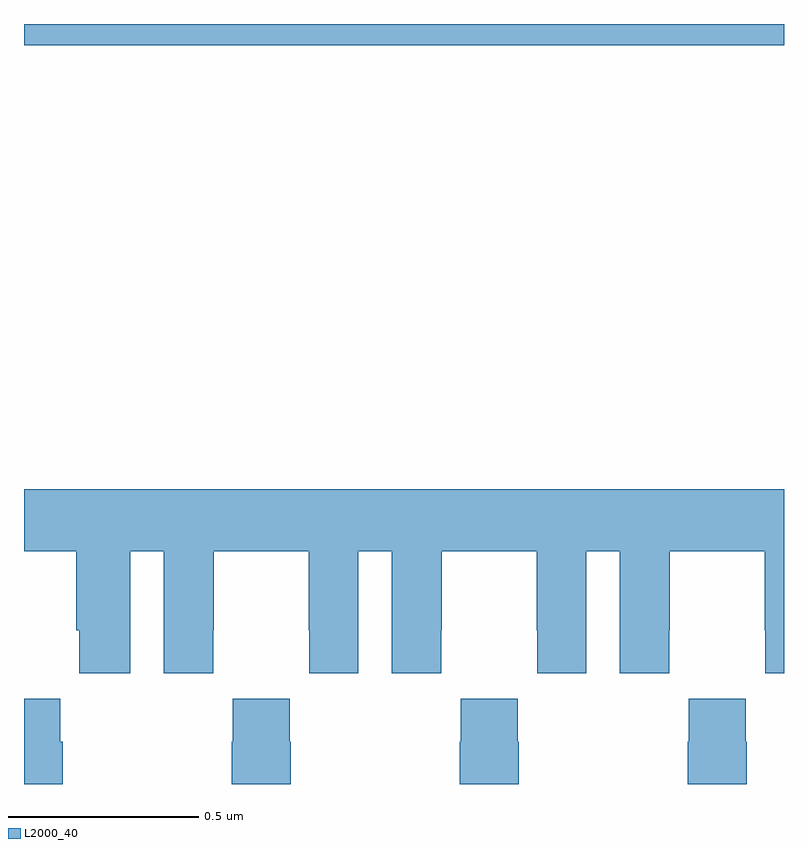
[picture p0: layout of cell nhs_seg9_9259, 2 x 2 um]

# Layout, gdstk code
import gdstk
lib = gdstk.Library(unit=1e-6, precision=1e-09)
def R(c, l, rs):  # rectangles x0, y0, x1, y1
    for r in rs: c.add(gdstk.rectangle(r[:2], r[2:], *l))
def P(c, l, *ps):  # polygons
    for p in ps: c.add(gdstk.Polygon(p, *l))
L2000_40 = (2000, 40)

nhs_seg9_9259 = lib.new_cell('nhs_seg9_9259')
R(nhs_seg9_9259, L2000_40, [(228,1172.444,230,1172.5)])
P(nhs_seg9_9259, L2000_40, [(228.28,1171.112),(228.368,1171.112),(228.368,1170.792),(228.498,1170.792),(228.498,1170.904),(228.499,1170.904),(228.499,1171.112),(228.749,1171.112),(228.749,1170.904),(228.75,1170.904),(228.75,1170.792),(228.88,1170.792),(228.88,1171.112),(228.968,1171.112),(228.968,1170.792),(229.098,1170.792),(229.098,1170.904),(229.099,1170.904),(229.099,1171.112),(229.349,1171.112),(229.349,1170.904),(229.35,1170.904),(229.35,1170.792),(229.48,1170.792),(229.48,1171.112),(229.568,1171.112),(229.568,1170.792),(229.698,1170.792),(229.698,1170.904),(229.699,1170.904),(229.699,1171.112),(229.949,1171.112),(229.949,1170.904),(229.95,1170.904),(229.95,1170.792),(230,1170.792),(230,1171.276),(228,1171.276),(228,1171.112),(228.137,1171.112),(228.137,1170.904),(228.146,1170.904),(228.146,1170.792),(228.28,1170.792)],
  [(228.702,1170.611),(228.699,1170.611),(228.699,1170.724),(228.549,1170.724),(228.549,1170.611),(228.547,1170.611),(228.547,1170.5),(228.702,1170.5)],
  [(229.302,1170.611),(229.299,1170.611),(229.299,1170.724),(229.149,1170.724),(229.149,1170.611),(229.147,1170.611),(229.147,1170.5),(229.302,1170.5)],
  [(229.902,1170.611),(229.899,1170.611),(229.899,1170.724),(229.749,1170.724),(229.749,1170.611),(229.747,1170.611),(229.747,1170.5),(229.902,1170.5)],
  [(228.102,1170.611),(228.095,1170.611),(228.095,1170.724),(228,1170.724),(228,1170.5),(228.102,1170.5)])

lib.write_gds('nhs_seg9_9259.gds')
